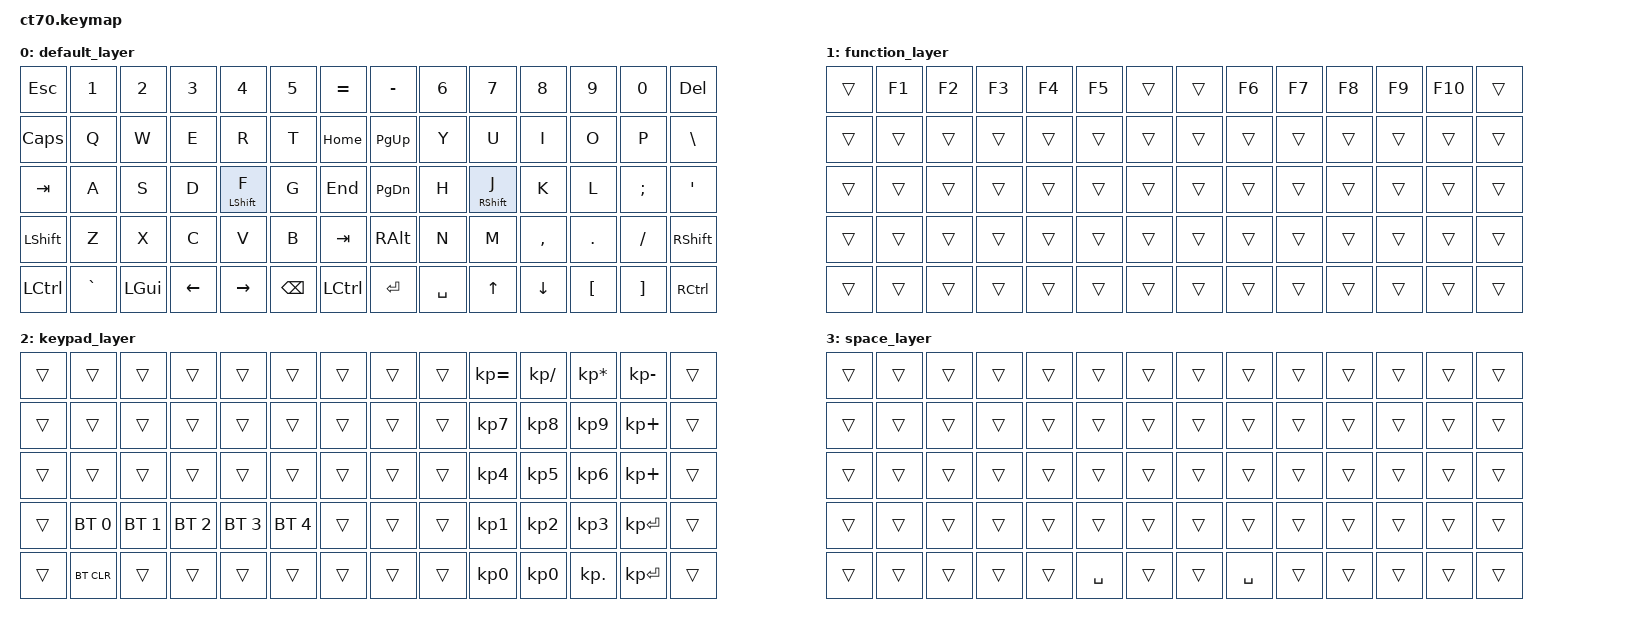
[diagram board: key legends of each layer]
#include "ct70.dtsi"
#include <behaviors.dtsi>
#include <dt-bindings/zmk/bt.h>
#include <dt-bindings/zmk/keys.h>

/ {
    behaviors {
        hm: homerow_mods {
            compatible = "zmk,behavior-hold-tap";
            label = "HOMEROW_MODS";
            #binding-cells = <2>;
            tapping-term-ms = <200>;
            quick-tap-ms = <0>;
            flavor = "tap-preferred";
            bindings = <&kp>, <&kp>;
        };
    };

    keymap {
        compatible = "zmk,keymap";

        default_layer {
            bindings = <
&kp ESC     &kp N1     &kp N2        &kp N3    &kp N4        &kp N5         &kp EQUAL    &kp MINUS      &kp N6     &kp N7        &kp N8     &kp N9            &kp N0             &kp DEL
&kp CAPS    &kp Q      &kp W         &kp E     &kp R         &kp T          &kp HOME     &kp PG_UP      &kp Y      &kp U         &kp I      &kp O             &kp P              &kp BSLH
&kp TAB     &kp A      &kp S         &kp D     &hm LSHIFT F  &kp G          &kp END      &kp PG_DN      &kp H      &hm RSHIFT J  &kp K      &kp L             &kp SEMI           &kp SQT
&kp LSHIFT  &kp Z      &kp X         &kp C     &kp V         &kp B          &kp TAB      &kp RIGHT_ALT  &kp N      &kp M         &kp COMMA  &kp DOT           &kp FSLH           &kp RSHIFT
&kp LCTRL   &kp GRAVE  &kp LEFT_GUI  &kp LEFT  &kp RIGHT     &kp BACKSPACE  &kp LCTRL    &kp ENTER      &kp SPACE  &kp UP        &kp DOWN   &kp LEFT_BRACKET  &kp RIGHT_BRACKET  &kp RCTRL
            >;
        };

        function_layer {
            bindings = <
&trans  &kp F1  &kp F2  &kp F3  &kp F4  &kp F5  &trans    &trans  &kp F6  &kp F7  &kp F8  &kp F9  &kp F10  &trans
&trans  &trans  &trans  &trans  &trans  &trans  &trans    &trans  &trans  &trans  &trans  &trans  &trans   &trans
&trans  &trans  &trans  &trans  &trans  &trans  &trans    &trans  &trans  &trans  &trans  &trans  &trans   &trans
&trans  &trans  &trans  &trans  &trans  &trans  &trans    &trans  &trans  &trans  &trans  &trans  &trans   &trans
&trans  &trans  &trans  &trans  &trans  &trans  &trans    &trans  &trans  &trans  &trans  &trans  &trans   &trans
            >;
        };

        keypad_layer {
            bindings = <
&trans  &trans        &trans        &trans        &trans        &trans        &trans    &trans  &trans  &kp KP_EQUAL  &kp KP_DIVIDE  &kp KP_MULTIPLY  &kp KP_MINUS  &trans
&trans  &trans        &trans        &trans        &trans        &trans        &trans    &trans  &trans  &kp KP_N7     &kp KP_N8      &kp KP_N9        &kp KP_PLUS   &trans
&trans  &trans        &trans        &trans        &trans        &trans        &trans    &trans  &trans  &kp KP_N4     &kp KP_N5      &kp KP_N6        &kp KP_PLUS   &trans
&trans  &bt BT_SEL 0  &bt BT_SEL 1  &bt BT_SEL 2  &bt BT_SEL 3  &bt BT_SEL 4  &trans    &trans  &trans  &kp KP_N1     &kp KP_N2      &kp KP_N3        &kp KP_ENTER  &trans
&trans  &bt BT_CLR    &trans        &trans        &trans        &trans        &trans    &trans  &trans  &kp KP_N0     &kp KP_N0      &kp KP_DOT       &kp KP_ENTER  &trans
            >;
        };

        space_layer {
            bindings = <
&trans  &trans  &trans  &trans  &trans  &trans     &trans    &trans  &trans     &trans  &trans  &trans  &trans  &trans
&trans  &trans  &trans  &trans  &trans  &trans     &trans    &trans  &trans     &trans  &trans  &trans  &trans  &trans
&trans  &trans  &trans  &trans  &trans  &trans     &trans    &trans  &trans     &trans  &trans  &trans  &trans  &trans
&trans  &trans  &trans  &trans  &trans  &trans     &trans    &trans  &trans     &trans  &trans  &trans  &trans  &trans
&trans  &trans  &trans  &trans  &trans  &kp SPACE  &trans    &trans  &kp SPACE  &trans  &trans  &trans  &trans  &trans
            >;
        };
    };
};
